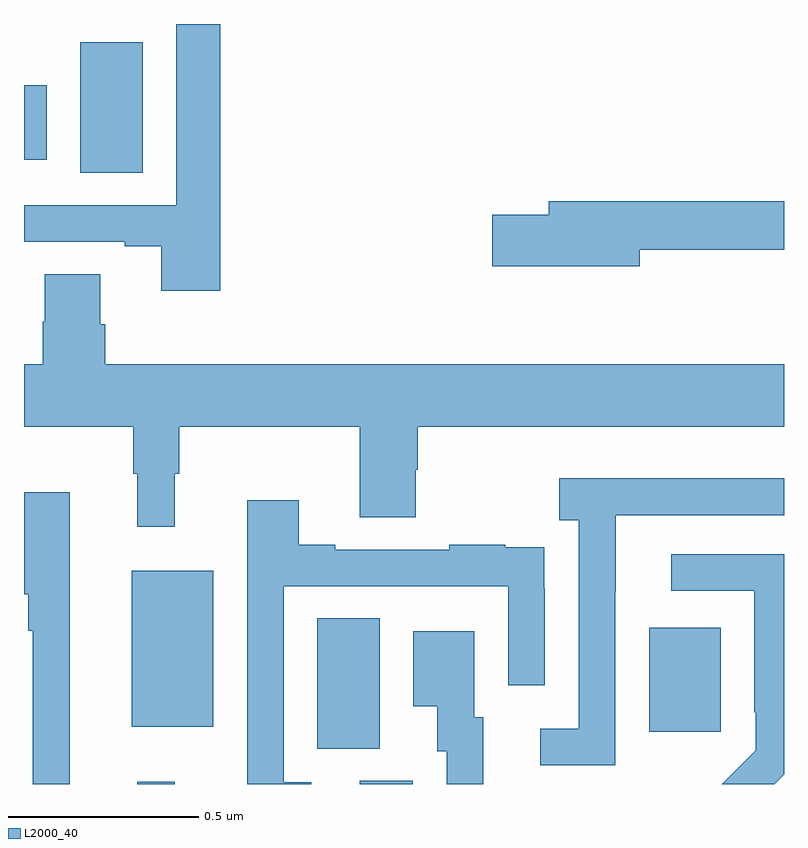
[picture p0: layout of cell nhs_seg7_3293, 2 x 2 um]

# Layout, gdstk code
import gdstk
lib = gdstk.Library(unit=1e-6, precision=1e-09)
def R(c, l, rs):  # rectangles x0, y0, x1, y1
    for r in rs: c.add(gdstk.rectangle(r[:2], r[2:], *l))
def P(c, l, *ps):  # polygons
    for p in ps: c.add(gdstk.Polygon(p, *l))
L2000_40 = (2000, 40)

nhs_seg7_3293 = lib.new_cell('nhs_seg7_3293')
R(nhs_seg7_3293, L2000_40, [(157.298,1009,157.397,1009.006), (157.883,1009,158.023,1009.008), (157.772,1009.093,157.936,1009.436), (158.645,1009.137,158.833,1009.411), (157.283,1009.151,157.498,1009.561), (157.148,1010.608,157.312,1010.952), (157,1010.643,157.06,1010.839)])
P(nhs_seg7_3293, L2000_40, [(157.517,1011),(157.401,1011),(157.401,1010.523),(157,1010.523),(157,1010.427),(157.265,1010.427),(157.265,1010.415),(157.361,1010.415),(157.361,1010.298),(157.517,1010.298)],
  [(158.62,1010.406),(159,1010.406),(159,1010.534),(158.381,1010.534),(158.381,1010.498),(158.232,1010.498),(158.232,1010.363),(158.62,1010.363)],
  [(157.397,1009.817),(157.408,1009.817),(157.408,1009.94),(157.883,1009.94),(157.883,1009.702),(158.031,1009.702),(158.031,1009.827),(158.036,1009.827),(158.036,1009.94),(159,1009.94),(159,1010.104),(157.214,1010.104),(157.214,1010.21),(157.201,1010.21),(157.201,1010.342),(157.054,1010.342),(157.054,1010.217),(157.049,1010.217),(157.049,1010.104),(157,1010.104),(157,1009.94),(157.287,1009.94),(157.287,1009.817),(157.298,1009.817),(157.298,1009.677),(157.397,1009.677)],
  [(158.556,1009.507),(158.557,1009.507),(158.557,1009.707),(159,1009.707),(159,1009.804),(158.409,1009.804),(158.409,1009.694),(158.46,1009.694),(158.46,1009.146),(158.358,1009.146),(158.358,1009.05),(158.556,1009.05)],
  [(157.12,1009.768),(157,1009.768),(157,1009.499),(157.011,1009.499),(157.011,1009.403),(157.023,1009.403),(157.023,1009),(157.12,1009)],
  [(157.756,1009.005),(157.683,1009.005),(157.683,1009.521),(158.274,1009.521),(158.274,1009.26),(158.37,1009.26),(158.37,1009.514),(158.369,1009.514),(158.369,1009.623),(158.267,1009.623),(158.267,1009.63),(158.119,1009.63),(158.119,1009.617),(157.819,1009.617),(157.819,1009.63),(157.723,1009.63),(157.723,1009.747),(157.587,1009.747),(157.587,1009),(157.756,1009)],
  [(159,1009.026),(159,1009.605),(158.703,1009.605),(158.703,1009.509),(158.922,1009.509),(158.922,1009.189),(158.925,1009.189),(158.925,1009.089),(158.836,1009),(158.974,1009)],
  [(158.209,1009.176),(158.185,1009.176),(158.185,1009.402),(158.024,1009.402),(158.024,1009.205),(158.087,1009.205),(158.087,1009.086),(158.112,1009.086),(158.112,1009),(158.209,1009)])

lib.write_gds('nhs_seg7_3293.gds')
